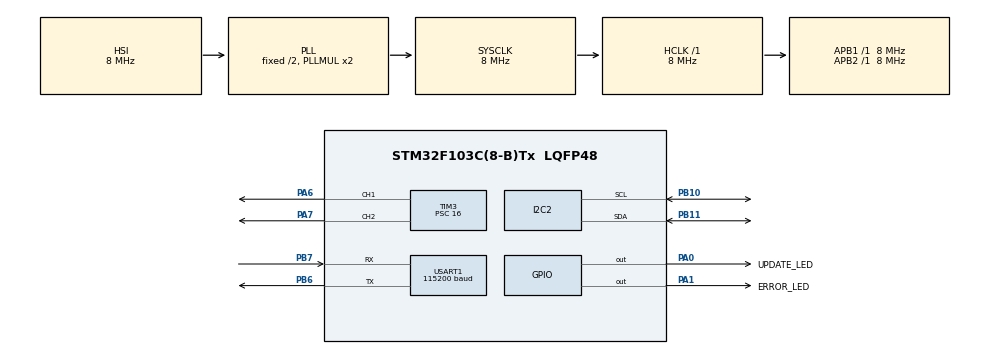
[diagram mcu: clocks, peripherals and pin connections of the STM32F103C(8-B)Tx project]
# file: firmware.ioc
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I2C2.I2C_Mode=I2C_Fast
Mcu.Family=STM32F1
Mcu.Name=STM32F103C(8-B)Tx
Mcu.Package=LQFP48
NVIC.I2C2_ER_IRQn=true\:0\:0\:false\:false\:true\:true\:true
NVIC.PVD_IRQn=true\:0\:0\:true\:false\:true\:true\:true
NVIC.PriorityGroup=NVIC_PRIORITYGROUP_4
NVIC.TIM2_IRQn=true\:0\:0\:false\:false\:true\:true\:true
NVIC.TIM3_IRQn=true\:0\:0\:false\:false\:true\:true\:true
NVIC.TIM4_IRQn=true\:1\:0\:true\:false\:true\:true\:true
NVIC.USART1_IRQn=true\:0\:0\:false\:false\:true\:true\:true
PA0-WKUP.GPIO_Label=UPDATE_LED
PA0-WKUP.Signal=GPIO_Output
PA1.GPIO_Label=ERROR_LED
PA1.Signal=GPIO_Output
PA13.Mode=Serial_Wire
PA13.Signal=SYS_JTMS-SWDIO
PA14.Mode=Serial_Wire
PA14.Signal=SYS_JTCK-SWCLK
PA6.Signal=S_TIM3_CH1
PA7.Signal=S_TIM3_CH2
PB10.Mode=I2C
PB10.Signal=I2C2_SCL
PB11.Mode=I2C
PB11.Signal=I2C2_SDA
PB6.Mode=Multiprocessor_communication
PB6.Signal=USART1_TX
PB7.Mode=Multiprocessor_communication
PB7.Signal=USART1_RX
ProjectManager.HeapSize=0x200
ProjectManager.StackSize=0x400
ProjectManager.TargetToolchain=Makefile
RCC.AHBFreq_Value=8000000
RCC.APB1Freq_Value=8000000
RCC.APB1TimFreq_Value=8000000
RCC.APB2Freq_Value=8000000
RCC.APB2TimFreq_Value=8000000
RCC.HCLKFreq_Value=8000000
RCC.SYSCLKFreq_VALUE=8000000
RCC.SYSCLKSource=RCC_SYSCLKSOURCE_PLLCLK
RCC.USBFreq_Value=8000000
SH.S_TIM3_CH1.0=TIM3_CH1,PWM Generation1 CH1
SH.S_TIM3_CH2.0=TIM3_CH2,PWM Generation2 CH2
TIM2.Period=60
TIM2.Prescaler=9000
TIM3.Channel-PWM\ Generation1\ CH1=TIM_CHANNEL_1
TIM3.Channel-PWM\ Generation2\ CH2=TIM_CHANNEL_2
TIM3.Period=10000
TIM3.Prescaler=16
TIM4.Period=5000
TIM4.Prescaler=8
USART1.BaudRate=115200
USART1.VirtualMode=VM_ASYNC
VP_RTC_VS_RTC_Activate.Mode=RTC_Enabled
VP_TIM2_VS_ClockSourceINT.Mode=Internal
VP_TIM3_VS_ClockSourceINT.Mode=Internal
VP_TIM4_VS_ClockSourceINT.Mode=Internal
board=custom

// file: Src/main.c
/* USER CODE BEGIN Header */
/**
  ******************************************************************************
  * @file           : main.c
  * @brief          : Main program body
  ******************************************************************************
  * @attention
  *
  * <h2><center>&copy; Copyright (c) 2020 STMicroelectronics.
  * All rights reserved.</center></h2>
  *
  * This software component is licensed by ST under BSD 3-Clause license,
  * the "License"; You may not use this file except in compliance with the
  * License. You may obtain a copy of the License at:
  *                        opensource.org/licenses/BSD-3-Clause
  *
  ******************************************************************************
  */
/* USER CODE END Header */

#include "main.h"

/* USER CODE BEGIN Includes */
#include <stdio.h>
#include <string.h>
#include <math.h>
#include <float.h>
#include <servomotor.h>
#include <mpu6050.h>
#include <moving_average.h>
#include <float_to_string.h>
//#include <stm32f103x6.h>
/* USER CODE END Includes */

/* USER CODE BEGIN PD */

#define DEFAULT_SMOOTHING 20
#define DEFAULT_FACTOR 1.4
#define ROUND_ANGLE_PACK

#define ROLL_COMPENSATION_FACTOR 1
#define PITCH_COMPENSATION_FACTOR -1
#define ROLL_SERVO_OFFSET 90
#define PITCH_SERVO_OFFSET 60

/* USER CODE END PD */

I2C_HandleTypeDef hi2c2;

RTC_HandleTypeDef hrtc;

TIM_HandleTypeDef htim2;
TIM_HandleTypeDef htim3;
TIM_HandleTypeDef htim4;

UART_HandleTypeDef huart1;

/* USER CODE BEGIN PV */
SD_MPU6050 position_sensor;

float sensor_roll, sensor_pitch, sensor_factor;
float roll_compensation, pitch_compensation;
size_t smoothing;

servo_t servo_roll;
servo_t servo_pitch;

#define SERVO_ROLL_CHANNEL TIM_CHANNEL_1
#define SERVO_PITCH_CHANNEL TIM_CHANNEL_2

maf_t roll_filter;
maf_t pitch_filter;

/* USER CODE END PV */

void SystemClock_Config(void);
static void MX_GPIO_Init(void);
static void MX_I2C2_Init(void);
static void MX_TIM2_Init(void);
static void MX_TIM3_Init(void);
static void MX_USART1_UART_Init(void);
static void MX_RTC_Init(void);
static void MX_TIM4_Init(void);

/* USER CODE BEGIN 0 */

/* -- System -- */
void init_system()
{
    smoothing = DEFAULT_SMOOTHING;
    if(init_maf(&roll_filter, smoothing) == 0) error_alert("Cannot init MAF");
    if(init_maf(&pitch_filter, smoothing) == 0) error_alert("Cannot init MAF");

    init_position_sensor();
    init_servomotors();
    init_uart_messaging();
    init_servomotors_motion();
}

void error_alert(char *msg)
{
    char str[100];
    HAL_NVIC_DisableIRQ(TIM2_IRQn);
    HAL_NVIC_DisableIRQ(TIM3_IRQn);

    HAL_GPIO_WritePin(ERROR_LED_GPIO_Port, ERROR_LED_Pin, GPIO_PIN_SET); //blink error led

    sprintf(str, "{\"type\":\"error\",\"text\":\"%s\"}\n\r", msg);
    HAL_UART_Transmit(&huart1, str, strlen(str), 100);

    HAL_Delay(500);

    HAL_GPIO_WritePin(ERROR_LED_GPIO_Port, ERROR_LED_Pin, GPIO_PIN_RESET);

    HAL_NVIC_SystemReset(); //reset microcontroller
}

/* -- Servomotors -- */
void init_servomotors()
{
    servo_status_t r;

    r = servo_init(&servo_roll, &htim3, TIM_CHANNEL_1);
    if(r != SERVO_STATUS_OK) error_alert("Cannot init servo_roll");

    r = servo_init(&servo_pitch, &htim3, TIM_CHANNEL_2);
    if(r != SERVO_STATUS_OK) error_alert("Cannot init servo_pitch");

    servo_set_offset(&servo_roll, ROLL_SERVO_OFFSET);
    servo_set_offset(&servo_pitch, PITCH_SERVO_OFFSET);
}

void init_servomotors_motion()
{
    HAL_TIM_Base_Start_IT(&htim3);
}

void servo_update()
{
    servo_set_position(&servo_roll, roll_compensation);
    servo_set_position(&servo_pitch, pitch_compensation);
}

/* -- Sensors -- */
void init_position_sensor()
{
    sensor_roll = 0;
    sensor_pitch = 0;
    sensor_factor = DEFAULT_FACTOR;

    HAL_Delay(500);

    SD_MPU6050_Result r;
    r = SD_MPU6050_Init(&hi2c2, &position_sensor, SD_MPU6050_Device_0, SD_MPU6050_Accelerometer_2G, SD_MPU6050_Gyroscope_250s);

    if(r != SD_MPU6050_Result_Ok)
    {
        error_alert("Cannot init MPU6050");
    }

    sensor_calc_position(&sensor_pitch, &sensor_roll);
    HAL_TIM_Base_Start_IT(&htim4);
}

#define MPU6050_I2C_ADDR	0xD0
#define MPU6050_I_AM	0x68
#define MPU6050_WHO_AM_I 0x75

/**
 * @brief Test the connection with the MPU6050 sensor. For bad connection, reset the MCU.
 */
void test_sensor()
{
    uint8_t temp;
    uint8_t WHO_AM_I = (uint8_t)MPU6050_WHO_AM_I;
    SD_MPU6050_Result r;

    /* Check who am I */
	  //------------------
		/* Send address */
		if(HAL_I2C_Master_Transmit(&hi2c2, MPU6050_I2C_ADDR, &WHO_AM_I, 1, 1000) != HAL_OK)
		{
        error_alert("MPU6050 connection fail");
		}

		/* Receive multiple byte */
		if(HAL_I2C_Master_Receive(&hi2c2, MPU6050_I2C_ADDR, &temp, 1, 1000) != HAL_OK)
		{
        error_alert("MPU6050 connection fail");
		}

		/* Checking */
		if(temp != MPU6050_I_AM)
		{
				error_alert("MPU6050 connection fail");
		}
	  //------------------
}

/**
 * @brief Update position and compensation informations
 */
void update_position_sensor()
{
    HAL_GPIO_WritePin(UPDATE_LED_GPIO_Port, UPDATE_LED_Pin, GPIO_PIN_SET);

    test_sensor();
    SD_MPU6050_Result r;
    r = SD_MPU6050_ReadAccelerometer(&hi2c2, &position_sensor);
    if(r != SD_MPU6050_Result_Ok)
    {
        error_alert("Cannot read MPU6050 Read Acce");
    }

    sensor_calc_position(&sensor_pitch, &sensor_roll);
    roll_compensation = ROLL_COMPENSATION_FACTOR * maf_filter(&roll_filter, sensor_roll);
    pitch_compensation = PITCH_COMPENSATION_FACTOR * maf_filter(&pitch_filter, sensor_pitch);

    HAL_GPIO_WritePin(UPDATE_LED_GPIO_Port, UPDATE_LED_Pin, GPIO_PIN_RESET);
}

#define SQUARE(v) ((v)*(v))
void sensor_calc_position(float *pitch, float *roll)
{
    *pitch = 180 * atan (position_sensor.Accelerometer_X/sqrt(SQUARE(position_sensor.Accelerometer_Y) + SQUARE(position_sensor.Accelerometer_Z)))/M_PI;
    *roll = 180 * atan (position_sensor.Accelerometer_Y/sqrt(SQUARE(position_sensor.Accelerometer_X) + SQUARE(position_sensor.Accelerometer_Z)))/M_PI;
    *pitch *= sensor_factor;
    *roll *= sensor_factor;
}

/* --- Smoothing -- */

/**
 * @brief Reset MAF with a new buffer length
 */
void change_smoothing(size_t value)
{
    HAL_NVIC_DisableIRQ(TIM3_IRQn);
    HAL_NVIC_DisableIRQ(TIM4_IRQn);

    servo_set_position(&servo_roll, 0);
    servo_set_position(&servo_pitch, 0);

    smoothing = value;

    delete_maf(&roll_filter);
    delete_maf(&pitch_filter);

    init_maf(&roll_filter, smoothing);
    init_maf(&pitch_filter, smoothing);

    HAL_NVIC_EnableIRQ(TIM4_IRQn);
    HAL_NVIC_EnableIRQ(TIM3_IRQn);
}

/* -- UART messaging -- */

/**
 * @brief Send position & compensation infos to TTL
 */
void uart_message_update()
{
    send_angle_pack(SENSOR_ANGLE_PACK, sensor_pitch, sensor_roll);
    send_angle_pack(SERVO_ANGLE_PACK, pitch_compensation, roll_compensation);
}

/**
 * @brief Initialize messaging timer interruptions
 */
void init_uart_messaging()
{
    HAL_TIM_Base_Start_IT(&htim2);
}

void send_value_pack(value_pack_target_t target, float value)
{
    char value_pack_str[100];
    char value_str[10];
    float_to_string(value, value_str);

    if(target == SMOOTHING_VALUE_PACK)
    {
        sprintf(value_pack_str, "{\"type\":\"value\", \"target\",\"smoothing\", \"value\":%s}\n", value_str);
    }
    else //FACTOR_VALUE_PACK
    {
        sprintf(value_pack_str, "{\"type\":\"value\", \"target\",\"factor\", \"value\":%s}\n", value_str);
    }
}

void send_angle_pack(angle_pack_target_t target, float pitch, float roll)
{
    char angle_pack_str[100];

#ifdef ROUND_ANGLE_PACK
    if(target == SENSOR_ANGLE_PACK)
    {
        sprintf(angle_pack_str, "{\"type\":\"angle\",\"pitch\":%d,\"roll\":%d, \"target\":\"sensor\"}\n", (long)pitch, (long)roll);
    }
    else //SERVO_ANGLE_PACK
    {
        sprintf(angle_pack_str, "{\"type\":\"angle\",\"pitch\":%d,\"roll\":%d, \"target\":\"servo\"}\n", (long)pitch, (long)roll);
    }

#else
    char roll_str[20], pitch_str[20];

    float_to_string(roll, roll_str);
    float_to_string(pitch, pitch_str);

    if(target == SENSOR_ANGLE_PACK)
    {
        sprintf(angle_pack_str, "{\"type\":\"angle\",\"pitch\":%s,\"roll\":%s, \"target\":\"sensor\"}\n", pitch_str, roll_str);
    }
    else if(target == OFFSET_ANGLE_PACK)
    {
        sprintf(angle_pack_str, "{\"type\":\"angle\",\"pitch\":%s,\"roll\":%s, \"target\":\"offset\"}\n", pitch_str, roll_str);
    }
    else //SERVO_ANGLE_PACK
    {
        sprintf(angle_pack_str, "{\"type\":\"angle\",\"pitch\":%s,\"roll\":%s, \"target\":\"servo\"}\n", pitch_str, roll_str);
    }
#endif

    HAL_UART_Transmit(&huart1, angle_pack_str, strlen(angle_pack_str), 100);
}

void send_echo_pack(char *msg)
{
    char echo_pack_str[100];
    sprintf(echo_pack_str, "{\"type\":\"echo\",\"text\":\"%s\"}\n", msg);
    HAL_UART_Transmit(&huart1, echo_pack_str, strlen(echo_pack_str), 100);
}

void send_message_pack(char *msg)
{
    char message_pack_str[100];
    sprintf(message_pack_str, "{\"type\":\"message\",\"text\":\"%s\"}\n", msg);
    HAL_UART_Transmit(&huart1, message_pack_str, strlen(message_pack_str), 100);
}

/* USER CODE END 0 */

int main(void)
{

  /* MCU Configuration--------------------------------------------------------*/

  /* Reset of all peripherals, Initializes the Flash interface and the Systick. */
  HAL_Init();

  /* Configure the system clock */
  SystemClock_Config();

  /* Initialize all configured peripherals */
  MX_GPIO_Init();
  MX_I2C2_Init();
  MX_TIM2_Init();
  MX_TIM3_Init();
  MX_USART1_UART_Init();
  MX_RTC_Init();
  MX_TIM4_Init();
  /* USER CODE BEGIN 2 */

  init_system();

  /* USER CODE END 2 */

  /* Infinite loop */
  while (1)
  {
    asm volatile ("WFI");
  }
}

void SystemClock_Config(void)
{
  RCC_OscInitTypeDef RCC_OscInitStruct = {0};
  RCC_ClkInitTypeDef RCC_ClkInitStruct = {0};
  RCC_PeriphCLKInitTypeDef PeriphClkInit = {0};

  /** Initializes the CPU, AHB and APB busses clocks
  */
  RCC_OscInitStruct.OscillatorType = RCC_OSCILLATORTYPE_HSI|RCC_OSCILLATORTYPE_LSI;
  RCC_OscInitStruct.HSIState = RCC_HSI_ON;
  RCC_OscInitStruct.HSICalibrationValue = RCC_HSICALIBRATION_DEFAULT;
  RCC_OscInitStruct.LSIState = RCC_LSI_ON;
  RCC_OscInitStruct.PLL.PLLState = RCC_PLL_ON;
  RCC_OscInitStruct.PLL.PLLSource = RCC_PLLSOURCE_HSI_DIV2;
  RCC_OscInitStruct.PLL.PLLMUL = RCC_PLL_MUL2;
  if (HAL_RCC_OscConfig(&RCC_OscInitStruct) != HAL_OK)
  {
    Error_Handler();
  }
  /** Initializes the CPU, AHB and APB busses clocks
  */
  RCC_ClkInitStruct.ClockType = RCC_CLOCKTYPE_HCLK|RCC_CLOCKTYPE_SYSCLK
                              |RCC_CLOCKTYPE_PCLK1|RCC_CLOCKTYPE_PCLK2;
  RCC_ClkInitStruct.SYSCLKSource = RCC_SYSCLKSOURCE_PLLCLK;
  RCC_ClkInitStruct.AHBCLKDivider = RCC_SYSCLK_DIV1;
  RCC_ClkInitStruct.APB1CLKDivider = RCC_HCLK_DIV1;
  RCC_ClkInitStruct.APB2CLKDivider = RCC_HCLK_DIV1;

  if (HAL_RCC_ClockConfig(&RCC_ClkInitStruct, FLASH_LATENCY_0) != HAL_OK)
  {
    Error_Handler();
  }
  PeriphClkInit.PeriphClockSelection = RCC_PERIPHCLK_RTC;
  PeriphClkInit.RTCClockSelection = RCC_RTCCLKSOURCE_LSI;
  if (HAL_RCCEx_PeriphCLKConfig(&PeriphClkInit) != HAL_OK)
  {
    Error_Handler();
  }
}

static void MX_I2C2_Init(void)
{

  hi2c2.Instance = I2C2;
  hi2c2.Init.ClockSpeed = 400000;
  hi2c2.Init.DutyCycle = I2C_DUTYCYCLE_2;
  hi2c2.Init.OwnAddress1 = 0;
  hi2c2.Init.AddressingMode = I2C_ADDRESSINGMODE_7BIT;
  hi2c2.Init.DualAddressMode = I2C_DUALADDRESS_DISABLE;
  hi2c2.Init.OwnAddress2 = 0;
  hi2c2.Init.GeneralCallMode = I2C_GENERALCALL_DISABLE;
  hi2c2.Init.NoStretchMode = I2C_NOSTRETCH_DISABLE;
  if (HAL_I2C_Init(&hi2c2) != HAL_OK)
  {
    Error_Handler();
  }

}

static void MX_RTC_Init(void)
{

  /** Initialize RTC Only
  */
  hrtc.Instance = RTC;
  hrtc.Init.AsynchPrediv = RTC_AUTO_1_SECOND;
  hrtc.Init.OutPut = RTC_OUTPUTSOURCE_ALARM;
  if (HAL_RTC_Init(&hrtc) != HAL_OK)
  {
    Error_Handler();
  }

}

static void MX_TIM2_Init(void)
{

  TIM_ClockConfigTypeDef sClockSourceConfig = {0};
  TIM_MasterConfigTypeDef sMasterConfig = {0};

  htim2.Instance = TIM2;
  htim2.Init.Prescaler = 9000;
  htim2.Init.CounterMode = TIM_COUNTERMODE_UP;
  htim2.Init.Period = 60;
  htim2.Init.ClockDivision = TIM_CLOCKDIVISION_DIV1;
  htim2.Init.AutoReloadPreload = TIM_AUTORELOAD_PRELOAD_DISABLE;
  if (HAL_TIM_Base_Init(&htim2) != HAL_OK)
  {
    Error_Handler();
  }
  sClockSourceConfig.ClockSource = TIM_CLOCKSOURCE_INTERNAL;
  if (HAL_TIM_ConfigClockSource(&htim2, &sClockSourceConfig) != HAL_OK)
  {
    Error_Handler();
  }
  sMasterConfig.MasterOutputTrigger = TIM_TRGO_RESET;
  sMasterConfig.MasterSlaveMode = TIM_MASTERSLAVEMODE_DISABLE;
  if (HAL_TIMEx_MasterConfigSynchronization(&htim2, &sMasterConfig) != HAL_OK)
  {
    Error_Handler();
  }

}

static void MX_TIM3_Init(void)
{

  TIM_ClockConfigTypeDef sClockSourceConfig = {0};
  TIM_MasterConfigTypeDef sMasterConfig = {0};
  TIM_OC_InitTypeDef sConfigOC = {0};

  htim3.Instance = TIM3;
  htim3.Init.Prescaler = 16;
  htim3.Init.CounterMode = TIM_COUNTERMODE_UP;
  htim3.Init.Period = 10000;
  htim3.Init.ClockDivision = TIM_CLOCKDIVISION_DIV1;
  htim3.Init.AutoReloadPreload = TIM_AUTORELOAD_PRELOAD_DISABLE;
  if (HAL_TIM_Base_Init(&htim3) != HAL_OK)
  {
    Error_Handler();
  }
  sClockSourceConfig.ClockSource = TIM_CLOCKSOURCE_INTERNAL;
  if (HAL_TIM_ConfigClockSource(&htim3, &sClockSourceConfig) != HAL_OK)
  {
    Error_Handler();
  }
  if (HAL_TIM_PWM_Init(&htim3) != HAL_OK)
  {
    Error_Handler();
  }
  sMasterConfig.MasterOutputTrigger = TIM_TRGO_RESET;
  sMasterConfig.MasterSlaveMode = TIM_MASTERSLAVEMODE_DISABLE;
  if (HAL_TIMEx_MasterConfigSynchronization(&htim3, &sMasterConfig) != HAL_OK)
  {
    Error_Handler();
  }
  sConfigOC.OCMode = TIM_OCMODE_PWM1;
  sConfigOC.Pulse = 0;
  sConfigOC.OCPolarity = TIM_OCPOLARITY_HIGH;
  sConfigOC.OCFastMode = TIM_OCFAST_DISABLE;
  if (HAL_TIM_PWM_ConfigChannel(&htim3, &sConfigOC, TIM_CHANNEL_1) != HAL_OK)
  {
    Error_Handler();
  }
  if (HAL_TIM_PWM_ConfigChannel(&htim3, &sConfigOC, TIM_CHANNEL_2) != HAL_OK)
  {
    Error_Handler();
  }
  HAL_TIM_MspPostInit(&htim3);

}

static void MX_TIM4_Init(void)
{

  TIM_ClockConfigTypeDef sClockSourceConfig = {0};
  TIM_MasterConfigTypeDef sMasterConfig = {0};

  htim4.Instance = TIM4;
  htim4.Init.Prescaler = 8;
  htim4.Init.CounterMode = TIM_COUNTERMODE_UP;
  htim4.Init.Period = 5000;
  htim4.Init.ClockDivision = TIM_CLOCKDIVISION_DIV1;
  htim4.Init.AutoReloadPreload = TIM_AUTORELOAD_PRELOAD_DISABLE;
  if (HAL_TIM_Base_Init(&htim4) != HAL_OK)
  {
    Error_Handler();
  }
  sClockSourceConfig.ClockSource = TIM_CLOCKSOURCE_INTERNAL;
  if (HAL_TIM_ConfigClockSource(&htim4, &sClockSourceConfig) != HAL_OK)
  {
    Error_Handler();
  }
  sMasterConfig.MasterOutputTrigger = TIM_TRGO_RESET;
  sMasterConfig.MasterSlaveMode = TIM_MASTERSLAVEMODE_DISABLE;
  if (HAL_TIMEx_MasterConfigSynchronization(&htim4, &sMasterConfig) != HAL_OK)
  {
    Error_Handler();
  }

}

static void MX_USART1_UART_Init(void)
{

  huart1.Instance = USART1;
  huart1.Init.BaudRate = 115200;
  huart1.Init.WordLength = UART_WORDLENGTH_8B;
  huart1.Init.StopBits = UART_STOPBITS_1;
  huart1.Init.Parity = UART_PARITY_NONE;
  huart1.Init.Mode = UART_MODE_TX_RX;
  huart1.Init.HwFlowCtl = UART_HWCONTROL_NONE;
  huart1.Init.OverSampling = UART_OVERSAMPLING_16;
  if (HAL_MultiProcessor_Init(&huart1, 0, UART_WAKEUPMETHOD_IDLELINE) != HAL_OK)
  {
    Error_Handler();
  }

}

static void MX_GPIO_Init(void)
{
  GPIO_InitTypeDef GPIO_InitStruct = {0};

  /* GPIO Ports Clock Enable */
  __HAL_RCC_GPIOA_CLK_ENABLE();
  __HAL_RCC_GPIOB_CLK_ENABLE();

  /*Configure GPIO pin Output Level */
  HAL_GPIO_WritePin(GPIOA, UPDATE_LED_Pin|ERROR_LED_Pin, GPIO_PIN_RESET);

  /*Configure GPIO pins : UPDATE_LED_Pin ERROR_LED_Pin */
  GPIO_InitStruct.Pin = UPDATE_LED_Pin|ERROR_LED_Pin;
  GPIO_InitStruct.Mode = GPIO_MODE_OUTPUT_PP;
  GPIO_InitStruct.Pull = GPIO_NOPULL;
  GPIO_InitStruct.Speed = GPIO_SPEED_FREQ_LOW;
  HAL_GPIO_Init(GPIOA, &GPIO_InitStruct);

}

void Error_Handler(void)
{
  /* USER CODE BEGIN Error_Handler_Debug */
  /* User can add his own implementation to report the HAL error return state */
  error_alert("HAL Error_Handler call");
  /* USER CODE END Error_Handler_Debug */
}

/************************ (C) COPYRIGHT STMicroelectronics *****END OF FILE****/
